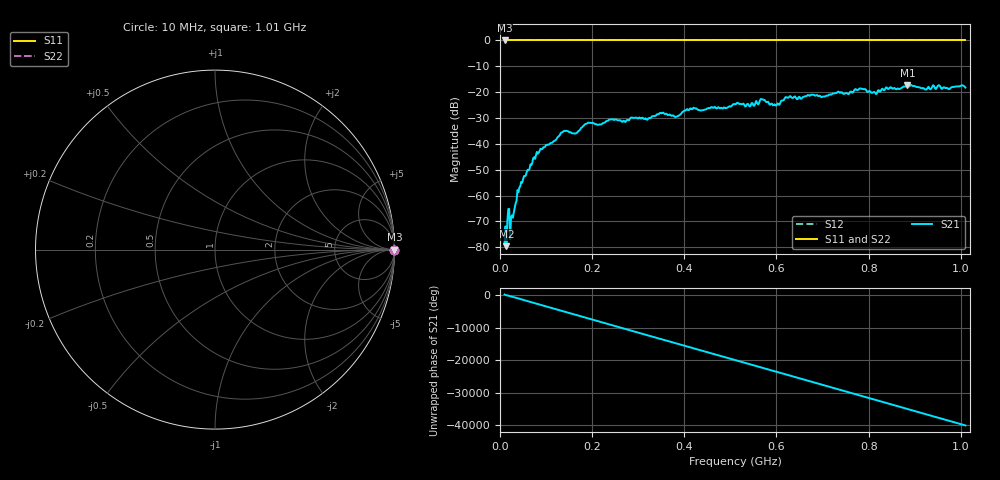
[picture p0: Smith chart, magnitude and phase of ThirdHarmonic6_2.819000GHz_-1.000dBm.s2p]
! 8/17/2025 7:27:06 AM
! C:\ANRITSUVNA\TEMP\TEMP.S2P
! CHANNEL.1
! TR.MEASUREMENT
! RAW.DATA
! RF.CORRECTION.OFF
! AVERAGING.OFF
! IF.BANDWIDTH: 5KHZ
! SWEEPTYPE:  FREQ.SWEEP(Linear)
! Reference Plane Port Info
! PORT:  PORT1  PORT2
! DISTANCE:  0  m  0  m
! TIME:  0  s  0  s
! PHASE.OFFSET:  0  deg.  0  deg.
! LOSS:  0  dB  0  dB
! REF.LOSS:  0  dB  0  dB
! REF.FREQ:  0  Hz  0  Hz
! Power Info
! POWER:  -20  dBm  -20  dBm
! EFF.POWER:  -20  dBm  -20  dBm
! SOURCE.ATTEN:  0  dB  0  dB
! TEST.ATTEN:  0  dB  0  dB
# GHZ S RI R 50.0
! FREQ.GHZ  S11RE  S11IM  S21RE  S21IM  S12RE  S12IM  S22RE  S22IM
!; PortSelection: Port_12
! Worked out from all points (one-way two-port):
!   501 points, 10 MHz to 1.01 GHz, reference 50 ohm
!   highest |S21| = -17.17 dB at 884 MHz (marker M1); lowest = -79.6 dB at 14 MHz (marker M2)
!   lowest |S11| = 0.0 dB at 10 MHz (marker M3)
!   |S11| at or under -10 dB: nowhere
!   |S22| runs from 0.0 to 0.0 dB; largest |S21 - S12| = 1.1
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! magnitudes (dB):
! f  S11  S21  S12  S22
! 10 MHz  0.0  -78.0  0.0  0.0
! 14 MHz  0.0  -79.6  0.0  0.0
! 20 MHz  0.0  -65.2  0.0  0.0
! 26 MHz  0.0  -67.7  0.0  0.0
! 42 MHz  0.0  -56.9  0.0  0.0
! 76 MHz  0.0  -45.8  0.0  0.0
! 136 MHz  0.0  -35.4  0.0  0.0
! 162 MHz  0.0  -36.0  0.0  0.0
! 178 MHz  0.0  -33.6  0.0  0.0
! 344 MHz  0.0  -28.6  0.0  0.0
! 382 MHz  0.0  -29.5  0.0  0.0
! 416 MHz  0.0  -26.6  0.0  0.0
! 510 MHz  0.0  -24.7  0.0  0.0
! 570 MHz  0.0  -22.8  0.0  0.0
! 596 MHz  0.0  -24.7  0.0  0.0
! 624 MHz  0.0  -22.2  0.0  0.0
! 678 MHz  0.0  -21.0  0.0  0.0
! 784 MHz  0.0  -18.7  0.0  0.0
! 814 MHz  0.0  -20.2  0.0  0.0
! 844 MHz  0.0  -18.7  0.0  0.0
! 884 MHz  0.0  -17.2  0.0  0.0
! 1.01 GHz  0.0  -18.2  0.0  0.0
